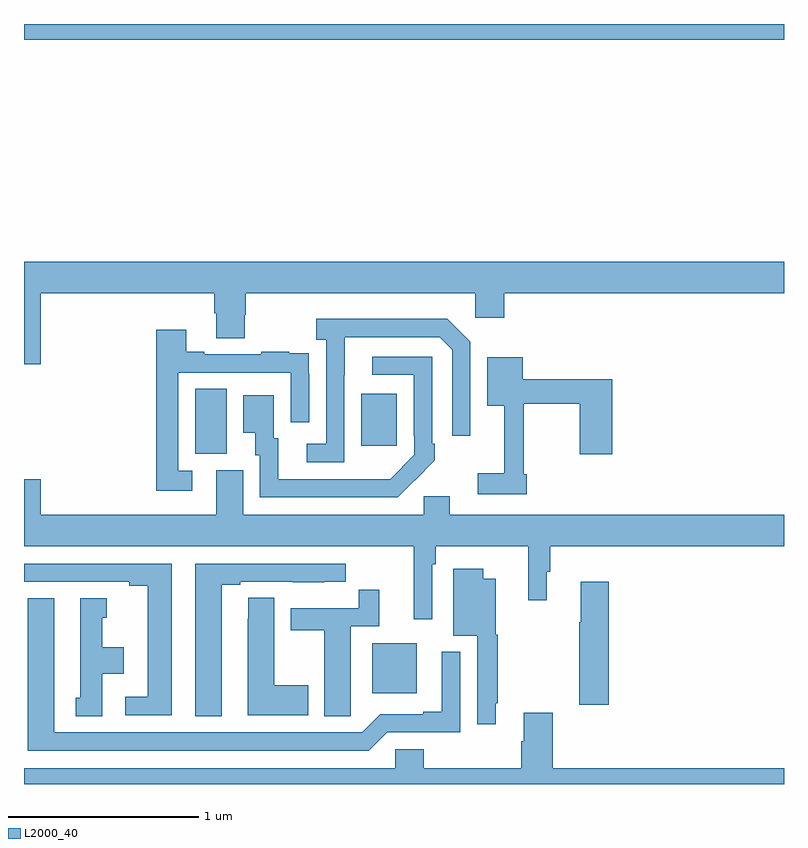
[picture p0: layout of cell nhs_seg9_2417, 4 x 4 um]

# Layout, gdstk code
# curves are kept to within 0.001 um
import gdstk
lib = gdstk.Library(unit=1e-6, precision=1e-09)
def R(c, l, rs):  # rectangles x0, y0, x1, y1
    for r in rs: c.add(gdstk.rectangle(r[:2], r[2:], *l))
def P(c, l, *ps):  # polygons
    for p in ps: c.add(gdstk.Polygon(p, *l))
L2000_40 = (2000, 40)

nhs_seg9_2417 = lib.new_cell('nhs_seg9_2417')
R(nhs_seg9_2417, L2000_40, [(250.832,1196.978,251.068,1197.241), (249.902,1198.237,250.066,1198.58), (250.775,1198.281,250.963,1198.555), (249,1200.416,253,1200.5)])
P(nhs_seg9_2417, L2000_40, [(249.088,1199.084),(250.001,1199.084),(250.001,1198.978),(250.013,1198.978),(250.013,1198.846),(250.161,1198.846),(250.161,1198.971),(250.166,1198.971),(250.166,1199.084),(251.376,1199.084),(251.376,1198.953),(251.528,1198.953),(251.528,1199.084),(253,1199.084),(253,1199.248),(249,1199.248),(249,1198.71),(249.088,1198.71)],
  [(250.686,1198.651),(250.687,1198.851),(251.187,1198.851),(251.253,1198.785),(251.253,1198.332),(251.349,1198.332),(251.349,1198.827),(251.228,1198.948),(250.539,1198.948),(250.539,1198.838),(250.59,1198.838),(250.59,1198.29),(250.488,1198.29),(250.488,1198.194),(250.686,1198.194)],
  [(249.886,1198.149),(249.813,1198.149),(249.813,1198.665),(250.404,1198.665),(250.404,1198.404),(250.5,1198.404),(250.5,1198.658),(250.499,1198.658),(250.499,1198.767),(250.397,1198.767),(250.397,1198.774),(250.249,1198.774),(250.249,1198.761),(249.949,1198.761),(249.949,1198.774),(249.853,1198.774),(249.853,1198.891),(249.697,1198.891),(249.697,1198.044),(249.886,1198.044)],
  [(251.057,1198.099),(251.058,1198.098),(251.163,1198.203),(251.163,1198.291),(251.148,1198.291),(251.148,1198.749),(250.833,1198.749),(250.833,1198.653),(251.052,1198.653),(251.052,1198.333),(251.055,1198.333),(251.055,1198.233),(250.927,1198.105),(250.339,1198.104),(250.339,1198.32),(250.315,1198.32),(250.315,1198.546),(250.154,1198.546),(250.154,1198.349),(250.217,1198.349),(250.217,1198.23),(250.242,1198.23),(250.242,1198.008),(250.966,1198.008)],
  [(251.645,1198.129),(251.63,1198.129),(251.63,1198.501),(251.924,1198.501),(251.924,1198.236),(252.095,1198.236),(252.095,1198.63),(251.626,1198.63),(251.626,1198.747),(251.438,1198.747),(251.438,1198.49),(251.528,1198.49),(251.528,1198.135),(251.388,1198.135),(251.388,1198.026),(251.645,1198.026)],
  [(251.148,1197.656),(251.168,1197.656),(251.168,1197.752),(251.653,1197.752),(251.653,1197.468),(251.752,1197.468),(251.752,1197.618),(251.771,1197.618),(251.771,1197.752),(253,1197.752),(253,1197.916),(251.242,1197.916),(251.242,1198.014),(251.103,1198.014),(251.103,1197.916),(250.153,1197.916),(250.153,1198.152),(250.013,1198.152),(250.013,1197.916),(249.088,1197.916),(249.088,1198.105),(249,1198.105),(249,1197.752),(251.051,1197.752),(251.051,1197.366),(251.148,1197.366)],
  [(250.042,1197.549),(250.138,1197.549),(250.138,1197.564),(250.414,1197.564),(250.414,1197.563),(250.58,1197.563),(250.58,1197.564),(250.693,1197.564),(250.693,1197.66),(249.902,1197.66),(249.902,1196.857),(250.042,1196.857)],
  [(249.778,1197.66),(249,1197.66),(249,1197.564),(249.554,1197.564),(249.554,1197.544),(249.65,1197.544),(249.65,1196.958),(249.534,1196.958),(249.534,1196.862),(249.778,1196.862)],
  [(251.482,1196.926),(251.494,1196.926),(251.494,1197.285),(251.482,1197.285),(251.482,1197.58),(251.416,1197.58),(251.416,1197.634),(251.258,1197.634),(251.258,1197.281),(251.385,1197.281),(251.385,1196.814),(251.482,1196.814)],
  [(252.077,1197.565),(251.93,1197.565),(251.93,1197.352),(251.923,1197.352),(251.923,1196.916),(252.077,1196.916)],
  [(250.719,1196.968),(250.72,1196.968),(250.72,1197.33),(250.871,1197.33),(250.871,1197.523),(250.762,1197.523),(250.762,1197.426),(250.403,1197.426),(250.403,1197.31),(250.58,1197.31),(250.58,1196.857),(250.719,1196.857)],
  [(250.495,1197.021),(250.318,1197.021),(250.318,1197.479),(250.179,1197.479),(250.179,1197.371),(250.178,1197.371),(250.178,1196.861),(250.495,1196.861)],
  [(249.412,1197.08),(249.526,1197.08),(249.526,1197.22),(249.412,1197.22),(249.412,1197.375),(249.436,1197.375),(249.436,1197.478),(249.296,1197.478),(249.296,1196.955),(249.272,1196.955),(249.272,1196.857),(249.412,1196.857)],
  [(250.911,1196.772),(251.295,1196.772),(251.295,1197.196),(251.198,1197.196),(251.198,1196.881),(251.102,1196.881),(251.102,1196.868),(250.875,1196.868),(250.779,1196.772),(249.16,1196.772),(249.16,1197.478),(249.02,1197.478),(249.02,1196.676),(250.815,1196.676)],
  [(253,1196.584),(251.783,1196.584),(251.783,1196.875),(251.63,1196.875),(251.63,1196.726),(251.618,1196.726),(251.618,1196.584),(251.105,1196.584),(251.105,1196.682),(250.953,1196.682),(250.953,1196.584),(249,1196.584),(249,1196.5),(253,1196.5)])

lib.write_gds('nhs_seg9_2417.gds')
